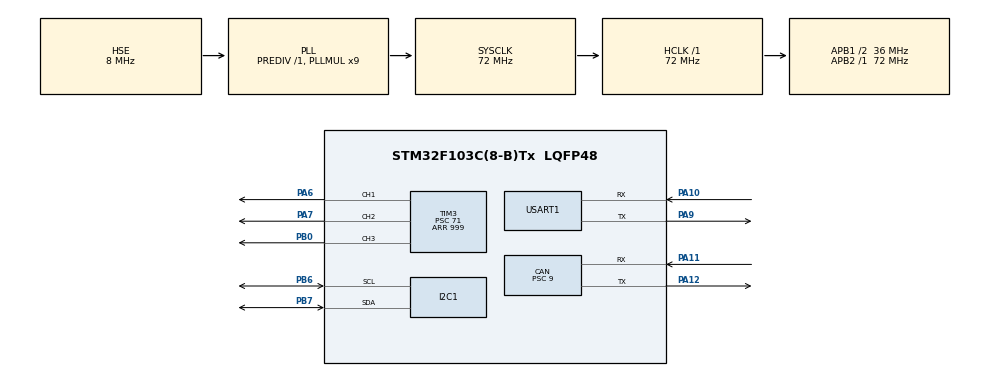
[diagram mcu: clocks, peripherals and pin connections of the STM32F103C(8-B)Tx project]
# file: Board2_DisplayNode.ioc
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CAN.BS1=CAN_BS1_5TQ
CAN.BS2=CAN_BS2_2TQ
CAN.CalculateBaudRate=500000
CAN.CalculateTimeBit=2000
CAN.CalculateTimeQuantum=250.0
CAN.Prescaler=9
FREERTOS.Tasks01=defaultTask,24,128,StartDefaultTask,Default,NULL,Dynamic,NULL,NULL
FREERTOS.configTIMER_TASK_PRIORITY=7
FREERTOS.configTOTAL_HEAP_SIZE=8192
I2C1.I2C_Mode=I2C_Fast
Mcu.Family=STM32F1
Mcu.Name=STM32F103C(8-B)Tx
Mcu.Package=LQFP48
NVIC.PriorityGroup=NVIC_PRIORITYGROUP_4
PA10.Mode=Asynchronous
PA10.Signal=USART1_RX
PA11.Mode=CAN_Activate
PA11.Signal=CAN_RX
PA12.Mode=CAN_Activate
PA12.Signal=CAN_TX
PA13.Mode=Serial_Wire
PA13.Signal=SYS_JTMS-SWDIO
PA14.Mode=Serial_Wire
PA14.Signal=SYS_JTCK-SWCLK
PA6.Signal=S_TIM3_CH1
PA7.Signal=S_TIM3_CH2
PA9.Mode=Asynchronous
PA9.Signal=USART1_TX
PB0.Signal=S_TIM3_CH3
PB6.Mode=I2C
PB6.Signal=I2C1_SCL
PB7.Mode=I2C
PB7.Signal=I2C1_SDA
PD0-OSC_IN.Mode=HSE-External-Oscillator
PD0-OSC_IN.Signal=RCC_OSC_IN
PD1-OSC_OUT.Mode=HSE-External-Oscillator
PD1-OSC_OUT.Signal=RCC_OSC_OUT
ProjectManager.HeapSize=0x200
ProjectManager.StackSize=0x400
ProjectManager.TargetToolchain=Makefile
RCC.AHBFreq_Value=72000000
RCC.APB1CLKDivider=RCC_HCLK_DIV2
RCC.APB1Freq_Value=36000000
RCC.APB1TimFreq_Value=72000000
RCC.APB2Freq_Value=72000000
RCC.APB2TimFreq_Value=72000000
RCC.HCLKFreq_Value=72000000
RCC.PLLMUL=RCC_PLL_MUL9
RCC.PLLSourceVirtual=RCC_PLLSOURCE_HSE
RCC.SYSCLKFreq_VALUE=72000000
RCC.SYSCLKSource=RCC_SYSCLKSOURCE_PLLCLK
RCC.USBFreq_Value=72000000
SH.S_TIM3_CH1.0=TIM3_CH1,PWM Generation1 CH1
SH.S_TIM3_CH2.0=TIM3_CH2,PWM Generation2 CH2
SH.S_TIM3_CH3.0=TIM3_CH3,PWM Generation3 CH3
TIM3.Channel-PWM\ Generation1\ CH1=TIM_CHANNEL_1
TIM3.Channel-PWM\ Generation2\ CH2=TIM_CHANNEL_2
TIM3.Channel-PWM\ Generation3\ CH3=TIM_CHANNEL_3
TIM3.Period=999
TIM3.Prescaler=71
USART1.VirtualMode=VM_ASYNC
VP_FREERTOS_VS_CMSIS_V2.Mode=CMSIS_V2
board=custom

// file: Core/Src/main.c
/* USER CODE BEGIN Header */
/**
 ******************************************************************************
 * @file           : main.c
 * @brief          : Board2 — 显示监控节点  FreeRTOS + CAN RX + OLED
 ******************************************************************************
 */
/* USER CODE END Header */
#include "main.h"
#include "cmsis_os.h"

/* USER CODE BEGIN Includes */
#include "oled.h"
#include "can_protocol.h"
#include "can_receiver.h"
#include "system_status.h"
#include <stdio.h>
#include <string.h>
/* USER CODE END Includes */

/* USER CODE BEGIN PD */
#define EVENT_DATA_UPDATED    0x0001
#define EVENT_STATUS_UPDATED  0x0002
/* USER CODE END PD */

CAN_HandleTypeDef hcan;

I2C_HandleTypeDef hi2c1;

TIM_HandleTypeDef htim3;

UART_HandleTypeDef huart1;

/* Definitions for defaultTask */
osThreadId_t defaultTaskHandle;
const osThreadAttr_t defaultTask_attributes = {
  .name = "defaultTask",
  .stack_size = 128 * 4,
  .priority = (osPriority_t) osPriorityNormal,
};
/* USER CODE BEGIN PV */

/* FreeRTOS 对象 */
osSemaphoreId_t  CANSemaphore;
osEventFlagsId_t DisplayEventFlags;

/* 任务句柄 */
osThreadId_t TaskCANRXHandle;
osThreadId_t TaskOLEDHandle;

/* 任务属性 */
const osThreadAttr_t task_attr_normal = {
    .name = "Task", .priority = osPriorityNormal, .stack_size = 1536
};
const osThreadAttr_t task_attr_high = {
    .name = "Task", .priority = osPriorityAboveNormal, .stack_size = 1536
};
/* USER CODE END PV */

void SystemClock_Config(void);
static void MX_GPIO_Init(void);
static void MX_CAN_Init(void);
static void MX_I2C1_Init(void);
static void MX_TIM3_Init(void);
static void MX_USART1_UART_Init(void);
void StartDefaultTask(void *argument);

/* USER CODE BEGIN PFP */

void Task_CAN_RX(void *argument);
void Task_OLED(void *argument);
/* USER CODE END PFP */

/* USER CODE BEGIN 0 */

/* ==================== printf 重定向 ==================== */

int __io_putchar(int ch)
{
    HAL_UART_Transmit(&huart1, (uint8_t *)&ch, 1, 10);
    return ch;
}

/* ==================== CAN RX 中断回调 ==================== */

void HAL_CAN_RxFifo0MsgPendingCallback(CAN_HandleTypeDef *hcan_ptr)
{
    CAN_RxHeaderTypeDef rx_header;
    uint8_t rx_data[8];

    if (HAL_CAN_GetRxMessage(hcan_ptr, CAN_RX_FIFO0,
                             &rx_header, rx_data) == HAL_OK) {
        CAN_Receiver_ProcessRx(&rx_header, rx_data);
    }
    osSemaphoreRelease(CANSemaphore);
}

/* ==================== 任务实现 ==================== */

void Task_CAN_RX(void *argument)
{
    CAN_TxHeaderTypeDef cmd_tx = {0};
    uint8_t cmd_data = 0xAA;
    uint32_t tx_mailbox;
    uint8_t alarm_sent = 0;

    CAN_Receiver_Init();
    CAN_Receiver_Start();

    cmd_tx.StdId = CAN_ID_ACK;    /* 0x301 */
    cmd_tx.ExtId = 0;
    cmd_tx.IDE   = CAN_ID_STD;
    cmd_tx.RTR   = CAN_RTR_DATA;
    cmd_tx.DLC   = 1;

    printf("[CAN RX] Ready, Filter: 0x201 & 0x202\r\n");

    for (;;) {
        uint8_t got_data = 0;
        if (osSemaphoreAcquire(CANSemaphore, pdMS_TO_TICKS(5000)) == osOK) {
            CAN_Receiver_ProcessTask();
            SystemStatus_FeedCAN();   /* 收到数据才喂 → 断线可检测 */
            SystemStatus_FeedSensor();
            got_data = 1;
        }
        /* 超时不喂狗 → 断线自动触发 ERROR:CAN */

        /* ==== 同步 Board1 状态到本地 ==== */
        if (got_data && g_can_rx_data.status_updated) {
            uint8_t st = g_can_rx_data.status.system_status;
            SystemStatus_Set((SystemStatus_t)st,
                             g_can_rx_data.status.error_code);
            g_can_rx_data.status_updated = 0;

            /* ==== 命令帧: 检测到告警时发 0x301 清告警 ==== */
            if ((st == SYSTEM_ERROR1 || st == SYSTEM_ERROR2) && !alarm_sent) {
                /* 发送 0x301 命令 → Board1 清告警 */
                if (HAL_CAN_AddTxMessage(&hcan, &cmd_tx,
                                         &cmd_data, &tx_mailbox) == HAL_OK) {
                    printf("[CAN TX] Command 0x301 → Clear Alarm\r\n");
                    alarm_sent = 1;
                }
            }
            if (st == SYSTEM_SAFE) {
                alarm_sent = 0;  /* 恢复后可再次发命令 */
            }
        }
    }
}

void Task_OLED(void *argument)
{
    char line0[22], line1[22], line2[22], line3[22], line4[22], lineT[22];
    static CAN_SensorFrame_t last_sensor = {0};
    static uint8_t has_data = 0;
    SystemStatus_t prev_status = SYSTEM_SAFE;

    OLED_Init();
    OLED_Clear();

    /* 启动画面 */
    OLED_ShowString(18, 1, "Signal Detection");
    OLED_ShowString(22, 3, "Board 2: RX");
    vTaskDelay(pdMS_TO_TICKS(1500));
    OLED_Clear();

    for (;;) {
        SystemStatus_FeedSensor();
        SystemStatus_Check();
        SystemStatus_t status = SystemStatus_Get();

        /* 更新最新传感器数据 */
        if (g_can_rx_data.sensor_updated) {
            memcpy(&last_sensor, &g_can_rx_data.sensor, sizeof(last_sensor));
            g_can_rx_data.sensor_updated = 0;
            has_data = 1;
        }

        if (has_data) {
            /* 避免 %%f (newlib-nano 不支持) — 用整数运算 */
            unsigned int v1_int = (unsigned int)(last_sensor.adc1 * 330U / 255);
            unsigned int v2_int = (unsigned int)(last_sensor.adc2 * 330U / 255);
            snprintf(line0, sizeof(line0), "Thr:V<%u.%02uV",
                     last_sensor.volt_threshold / 100,
                     last_sensor.volt_threshold % 100);
            snprintf(lineT, sizeof(lineT), "Thr:T>%dC",
                     (int)g_can_rx_data.status.temp_threshold);
            snprintf(line1, sizeof(line1), "T:%dC  H:%d%%",
                     last_sensor.temp_int, last_sensor.humi_int);
            snprintf(line2, sizeof(line2), "V1:%u.%02uV V2:%u.%02uV",
                     v1_int / 100, v1_int % 100,
                     v2_int / 100, v2_int % 100);
            snprintf(line3, sizeof(line3), "RX:%lu st=%u/%s",
                     (unsigned long)g_can_rx_data.rx_count,
                     g_can_rx_data.status.system_status,
                     SystemStatus_GetString());
        } else {
            snprintf(line0, sizeof(line0), "Thr:V<--.--V");
            snprintf(lineT, sizeof(lineT), "Thr:T>--C");
            snprintf(line1, sizeof(line1), "Waiting CAN...");
            snprintf(line2, sizeof(line2), "RX frames: 0");
            snprintf(line3, sizeof(line3), "");
        }

        /* 第四行: 系统状态 (已由 Task_CAN_RX 同步 Board1 状态) */
        snprintf(line4, sizeof(line4), "[%s]", SystemStatus_GetString());

        /* 填充空格到 21 字符, 彻底清除旧内容 (line1/2/3/4) */
        for (uint8_t li = 0; li < 4; li++) {
            char *lp = (li == 0) ? line1 : (li == 1) ? line2 :
                       (li == 2) ? line3 : line4;
            int l = strlen(lp);
            while (l < 21) lp[l++] = ' ';
            lp[21] = '\0';
        }
        /* line0/lineT 也填充到 21 字符 */
        for (uint8_t li = 0; li < 2; li++) {
            char *lp = (li == 0) ? line0 : lineT;
            int l = strlen(lp);
            while (l < 21) lp[l++] = ' ';
            lp[21] = '\0';
        }

        /* 刷新 OLED: Page 0=V阈值, Page 1=温湿度, Page 2=T阈值, Page 3=电压, Page 5=状态, Page 7=系统 */
        OLED_ShowString(0, 0, line0);
        OLED_ShowString(0, 1, line1);
        OLED_ShowString(0, 2, lineT);
        OLED_ShowString(0, 3, line2);
        OLED_ShowString(0, 5, line3);

        /* 状态栏: 告警时反色高亮 */
        if (status != prev_status) {
            if (status != SYSTEM_SAFE) {
                OLED_ShowHighlight(7);
            }
            prev_status = status;
        }
        OLED_ShowString(0, 7, line4);

        vTaskDelay(pdMS_TO_TICKS(500));
    }
}

/* USER CODE END 0 */

int main(void)
{

  /* MCU Configuration--------------------------------------------------------*/

  /* Reset of all peripherals, Initializes the Flash interface and the Systick. */
  HAL_Init();

  /* Configure the system clock */
  SystemClock_Config();

  /* Initialize all configured peripherals */
  MX_GPIO_Init();
  MX_CAN_Init();
  MX_I2C1_Init();
  MX_TIM3_Init();
  MX_USART1_UART_Init();
  /* USER CODE BEGIN 2 */

  SystemStatus_Init();

  /* 禁用 printf 缓冲 */
  setvbuf(stdout, NULL, _IONBF, 0);

  printf("\r\n========================================\r\n");
  printf("  Board2: Display Node\r\n");
  printf("  STM32F103C8T6  FreeRTOS  CAN 500kbps\r\n");
  printf("========================================\r\n");

  /* USER CODE END 2 */

  /* Init scheduler */
  osKernelInitialize();

  /* USER CODE BEGIN RTOS_SEMAPHORES */

  CANSemaphore = osSemaphoreNew(10, 0, NULL);

  /* USER CODE END RTOS_SEMAPHORES */

  /* Create the thread(s) */
  /* creation of defaultTask */
  defaultTaskHandle = osThreadNew(StartDefaultTask, NULL, &defaultTask_attributes);

  /* USER CODE BEGIN RTOS_THREADS */

  TaskCANRXHandle = osThreadNew(Task_CAN_RX, NULL, &task_attr_high);
  TaskOLEDHandle  = osThreadNew(Task_OLED,  NULL, &task_attr_normal);

  /* USER CODE END RTOS_THREADS */

  /* USER CODE BEGIN RTOS_EVENTS */

  DisplayEventFlags = osEventFlagsNew(NULL);

  /* USER CODE END RTOS_EVENTS */

  /* Start scheduler */
  osKernelStart();

  /* We should never get here as control is now taken by the scheduler */

  /* Infinite loop */
  while (1)
  {

  }
}

void SystemClock_Config(void)
{
  RCC_OscInitTypeDef RCC_OscInitStruct = {0};
  RCC_ClkInitTypeDef RCC_ClkInitStruct = {0};

  /** Initializes the RCC Oscillators according to the specified parameters
  * in the RCC_OscInitTypeDef structure.
  */
  RCC_OscInitStruct.OscillatorType = RCC_OSCILLATORTYPE_HSE;
  RCC_OscInitStruct.HSEState = RCC_HSE_ON;
  RCC_OscInitStruct.HSEPredivValue = RCC_HSE_PREDIV_DIV1;
  RCC_OscInitStruct.HSIState = RCC_HSI_ON;
  RCC_OscInitStruct.PLL.PLLState = RCC_PLL_ON;
  RCC_OscInitStruct.PLL.PLLSource = RCC_PLLSOURCE_HSE;
  RCC_OscInitStruct.PLL.PLLMUL = RCC_PLL_MUL9;
  if (HAL_RCC_OscConfig(&RCC_OscInitStruct) != HAL_OK)
  {
    Error_Handler();
  }

  /** Initializes the CPU, AHB and APB buses clocks
  */
  RCC_ClkInitStruct.ClockType = RCC_CLOCKTYPE_HCLK|RCC_CLOCKTYPE_SYSCLK
                              |RCC_CLOCKTYPE_PCLK1|RCC_CLOCKTYPE_PCLK2;
  RCC_ClkInitStruct.SYSCLKSource = RCC_SYSCLKSOURCE_PLLCLK;
  RCC_ClkInitStruct.AHBCLKDivider = RCC_SYSCLK_DIV1;
  RCC_ClkInitStruct.APB1CLKDivider = RCC_HCLK_DIV2;
  RCC_ClkInitStruct.APB2CLKDivider = RCC_HCLK_DIV1;

  if (HAL_RCC_ClockConfig(&RCC_ClkInitStruct, FLASH_LATENCY_2) != HAL_OK)
  {
    Error_Handler();
  }
}

static void MX_CAN_Init(void)
{

  hcan.Instance = CAN1;
  hcan.Init.Prescaler = 9;
  hcan.Init.Mode = CAN_MODE_NORMAL;
  hcan.Init.SyncJumpWidth = CAN_SJW_1TQ;
  hcan.Init.TimeSeg1 = CAN_BS1_5TQ;
  hcan.Init.TimeSeg2 = CAN_BS2_2TQ;
  hcan.Init.TimeTriggeredMode = DISABLE;
  hcan.Init.AutoBusOff = DISABLE;
  hcan.Init.AutoWakeUp = DISABLE;
  hcan.Init.AutoRetransmission = DISABLE;
  hcan.Init.ReceiveFifoLocked = DISABLE;
  hcan.Init.TransmitFifoPriority = DISABLE;
  if (HAL_CAN_Init(&hcan) != HAL_OK)
  {
    Error_Handler();
  }

}

static void MX_I2C1_Init(void)
{

  hi2c1.Instance = I2C1;
  hi2c1.Init.ClockSpeed = 400000;
  hi2c1.Init.DutyCycle = I2C_DUTYCYCLE_2;
  hi2c1.Init.OwnAddress1 = 0;
  hi2c1.Init.AddressingMode = I2C_ADDRESSINGMODE_7BIT;
  hi2c1.Init.DualAddressMode = I2C_DUALADDRESS_DISABLE;
  hi2c1.Init.OwnAddress2 = 0;
  hi2c1.Init.GeneralCallMode = I2C_GENERALCALL_DISABLE;
  hi2c1.Init.NoStretchMode = I2C_NOSTRETCH_DISABLE;
  if (HAL_I2C_Init(&hi2c1) != HAL_OK)
  {
    Error_Handler();
  }

}

static void MX_TIM3_Init(void)
{

  TIM_MasterConfigTypeDef sMasterConfig = {0};
  TIM_OC_InitTypeDef sConfigOC = {0};

  htim3.Instance = TIM3;
  htim3.Init.Prescaler = 71;
  htim3.Init.CounterMode = TIM_COUNTERMODE_UP;
  htim3.Init.Period = 999;
  htim3.Init.ClockDivision = TIM_CLOCKDIVISION_DIV1;
  htim3.Init.AutoReloadPreload = TIM_AUTORELOAD_PRELOAD_DISABLE;
  if (HAL_TIM_PWM_Init(&htim3) != HAL_OK)
  {
    Error_Handler();
  }
  sMasterConfig.MasterOutputTrigger = TIM_TRGO_RESET;
  sMasterConfig.MasterSlaveMode = TIM_MASTERSLAVEMODE_DISABLE;
  if (HAL_TIMEx_MasterConfigSynchronization(&htim3, &sMasterConfig) != HAL_OK)
  {
    Error_Handler();
  }
  sConfigOC.OCMode = TIM_OCMODE_PWM1;
  sConfigOC.Pulse = 0;
  sConfigOC.OCPolarity = TIM_OCPOLARITY_HIGH;
  sConfigOC.OCFastMode = TIM_OCFAST_DISABLE;
  if (HAL_TIM_PWM_ConfigChannel(&htim3, &sConfigOC, TIM_CHANNEL_1) != HAL_OK)
  {
    Error_Handler();
  }
  if (HAL_TIM_PWM_ConfigChannel(&htim3, &sConfigOC, TIM_CHANNEL_2) != HAL_OK)
  {
    Error_Handler();
  }
  if (HAL_TIM_PWM_ConfigChannel(&htim3, &sConfigOC, TIM_CHANNEL_3) != HAL_OK)
  {
    Error_Handler();
  }
  HAL_TIM_MspPostInit(&htim3);

}

static void MX_USART1_UART_Init(void)
{

  huart1.Instance = USART1;
  huart1.Init.BaudRate = 115200;
  huart1.Init.WordLength = UART_WORDLENGTH_8B;
  huart1.Init.StopBits = UART_STOPBITS_1;
  huart1.Init.Parity = UART_PARITY_NONE;
  huart1.Init.Mode = UART_MODE_TX_RX;
  huart1.Init.HwFlowCtl = UART_HWCONTROL_NONE;
  huart1.Init.OverSampling = UART_OVERSAMPLING_16;
  if (HAL_UART_Init(&huart1) != HAL_OK)
  {
    Error_Handler();
  }

}

static void MX_GPIO_Init(void)
{

  /* GPIO Ports Clock Enable */
  __HAL_RCC_GPIOD_CLK_ENABLE();
  __HAL_RCC_GPIOA_CLK_ENABLE();
  __HAL_RCC_GPIOB_CLK_ENABLE();

}

void StartDefaultTask(void *argument)
{
  for(;;)
  {
    osDelay(1);
  }
}

void Error_Handler(void)
{
  __disable_irq();
  while (1)
  {
  }
}
